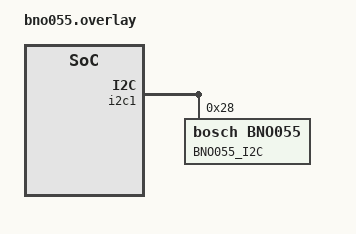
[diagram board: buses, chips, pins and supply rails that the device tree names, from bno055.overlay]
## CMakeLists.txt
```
# SPDX-License-Identifier: Apache-2.0

cmake_minimum_required(VERSION 3.20.0)

list(APPEND BOARD_ROOT ${CMAKE_CURRENT_SOURCE_DIR}/../../cas-zephyr-drivers/zephyr)
list(APPEND SOC_ROOT ${CMAKE_CURRENT_SOURCE_DIR}/../../cas-zephyr-drivers/zephyr)
list(APPEND DTS_ROOT ${CMAKE_CURRENT_SOURCE_DIR}/../../cas-zephyr-drivers/zephyr)

# To add out-of-tree device drivers to the project, uncomment the following line.
list(APPEND ZEPHYR_EXTRA_MODULES ${CMAKE_CURRENT_SOURCE_DIR}/../../cas-zephyr-drivers/zephyr/drivers/bno055_driver)

find_package(Zephyr REQUIRED HINTS $ENV{ZEPHYR_BASE})

# Update the following line to contain the name of the current application.
project(bno055-breakout)

target_sources(app PRIVATE src/main.c)
```

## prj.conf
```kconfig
CONFIG_SENSOR=y
CONFIG_I2C=y
CONFIG_BNO055=y
```

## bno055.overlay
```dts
&i2c1 {
	status = "okay";
	bno055_i2c_node: bno055@28 {
		compatible = "bosch,bno055";
		reg = <0x28>;
		label = "BNO055_I2C";
	};
};		
```

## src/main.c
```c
#include <zephyr.h>
#include <device.h>
#include <devicetree.h>
#include <drivers/sensor.h>

#define DEVICE_NODE bno055_i2c_node

void main(void) {

	const struct device *i2c_dev = DEVICE_DT_GET(DT_NODELABEL(DEVICE_NODE));
	struct sensor_value val;

	printk("----- BNO055 sensor application -----\n");

	if (i2c_dev == NULL) {
		printk("Failed to get device binding.\n");
		return;
	} else {
		printk("Got device binding.\n");
	}

	if (!device_is_ready(i2c_dev)) {
		printk("Device is not ready.\n");
		return;
	} else {
		printk("Device is ready.\n");
	}

	while (1) {

		k_msleep(1000);

		if (sensor_sample_fetch(i2c_dev) != 0) {
			printk("Sensor sample fetch fail.\n");
			continue;
		} else {
			printk("Sensor sample fetch succeeded.\n");
		}

		if (sensor_channel_get(i2c_dev, SENSOR_CHAN_ACCEL_X, &val) != 0) {
			printk("Sensor channel get fail.\n");
			continue;
		} else {
			printk("Sensor channel get succeeded.\n");
		}

		printk("sensor accelaration reading: %d\n m/s^2.", val.val1);

	}

}
```
